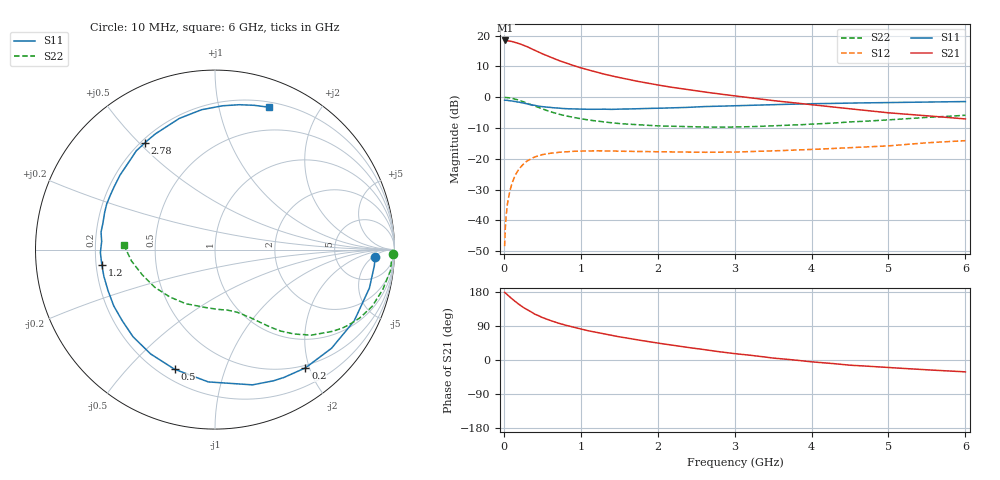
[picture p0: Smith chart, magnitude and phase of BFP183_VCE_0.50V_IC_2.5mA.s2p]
! Infineon Technologies  Discrete & RF Semiconductors
! BFP183
! VCE = 0.50V,  IC =  2.5 mA
! Common Emitter S-Parameters:  Jan 2016
# GHz  S  MA  R  50
!  f  S11  S21  S12  S22
! GHz  MAG  ANG  MAG  ANG  MAG  ANG  MAG  ANG
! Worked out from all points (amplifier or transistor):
!   210 points, 10 MHz to 6 GHz, reference 50 ohm
!   highest |S21| = 18.4 dB at 20 MHz (marker M1)
!   |S21| within 3 dB of that: start of sweep to 385.2 MHz
!   unconditionally stable (mu >= 1): 1.811 GHz to end of sweep
!   at 185 MHz: K = 0.12, MSG = 20.7 dB, |S12| = -23.8 dB
!   at 1.52 GHz: K = 0.86, MSG = 11.9 dB, |S12| = -17.6 dB
!   at 6 GHz: K = 1.23, MAG = 0.7 dB, |S12| = -14.1 dB
!   S11 on the Smith chart (normalised r, x): 10 MHz: 15, -6; 200 MHz: 0.46, -1.94; 500 MHz: 0.26, -0.68; 1.2 GHz: 0.22, -0.06; 2.78 GHz: 0.22, +0.52; 6 GHz: 0.25, +1.42
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0.01  0.893 -2.7  8.32 178.6  0.0038 89.2  0.9937 -1.3
0.02  0.8922 -5.8  8.335 177.0  0.0077 85.1  0.9865 -2.7
0.05  0.8866 -14.0  8.248 171.2  0.0196 83.6  0.9846 -6.8
0.1  0.8713 -27.2  8.057 162.5  0.0374 74.6  0.9607 -13.5
0.15  0.8508 -40.2  7.733 154.1  0.0546 67.5  0.9309 -19.9
0.2  0.8295 -52.6  7.427 146.3  0.0688 60.8  0.8912 -25.4
0.24  0.8092 -61.7  7.085 140.5  0.0785 55.8  0.8541 -29.5
0.3  0.782 -74.5  6.626 133.0  0.0915 49.9  0.7976 -34.8
0.4  0.7381 -92.9  5.794 121.3  0.1067 41.2  0.7167 -41.7
0.5  0.7036 -108.7  5.07 112.1  0.1166 34.5  0.6435 -46.9
0.6  0.6831 -121.7  4.523 104.4  0.1228 29.1  0.5831 -51.1
0.7  0.6665 -133.3  4.002 97.8  0.1268 24.9  0.5352 -54.2
0.8  0.651 -142.7  3.615 91.9  0.1296 21.4  0.4982 -56.6
1.02  0.6372 -160.5  2.946 80.8  0.1331 15.8  0.4416 -61.1
1.2  0.6362 -172.5  2.551 73.1  0.1344 12.0  0.4103 -64.8
1.5  0.6423 171.3  2.084 61.2  0.1321 8.7  0.3717 -70.1
2.02  0.6616 148.4  1.562 44.1  0.1298 6.2  0.3414 -79.9
2.78  0.7123 123.2  1.138 22.4  0.1282 6.6  0.327 -98.6
3.1  0.7291 114.7  1.013 14.8  0.1294 7.4  0.3291 -107.6
4.1  0.7854 93.8  0.73 -6.4  0.1432 9.9  0.3693 -136.8
5.1  0.8209 79.3  0.545 -21.1  0.1656 10.7  0.4354 -163.2
6  0.8483 69.2  0.443 -31.3  0.1965 6.1  0.5081 177.2
